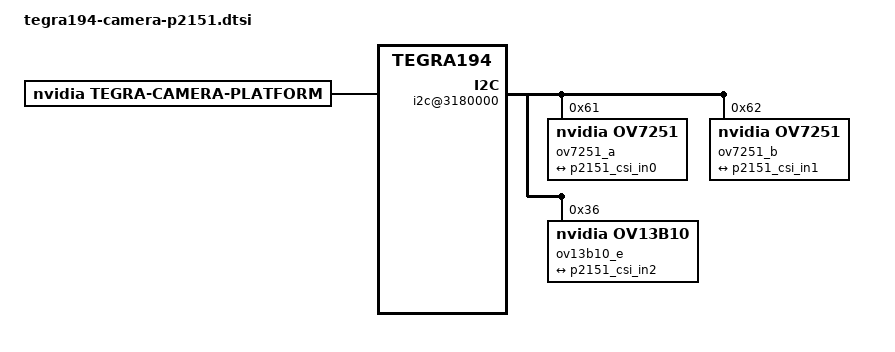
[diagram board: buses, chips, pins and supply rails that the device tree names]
/*
 * Copyright (c) 2015-2020, NVIDIA CORPORATION.  All rights reserved.
 *
 * This program is free software; you can redistribute it and/or modify it
 * under the terms and conditions of the GNU General Public License,
 * version 2, as published by the Free Software Foundation.
 *
 * This program is distributed in the hope it will be useful, but WITHOUT
 * ANY WARRANTY; without even the implied warranty of MERCHANTABILITY or
 * FITNESS FOR A PARTICULAR PURPOSE.  See the GNU General Public License for
 * more details.
 *
 * You should have received a copy of the GNU General Public License
 * along with this program.  If not, see <http://www.gnu.org/licenses/>.
 */

/ {
	tegra-capture-vi {
		num-channels = <3>;
		ports {
			#address-cells = <1>;
			#size-cells = <0>;
			port@0 {
				reg = <0>;
				p2151_vi_in0: endpoint {
					port-index = <0>;
					bus-width = <1>;
					remote-endpoint = <&p2151_csi_out0>;
				};
			};
			port@1 {
				reg = <1>;
				p2151_vi_in1: endpoint {
					port-index = <1>;
					bus-width = <1>;
					remote-endpoint = <&p2151_csi_out1>;
				};
			};
			port@2 {
				reg = <2>;
				p2151_vi_in2: endpoint {
					port-index = <4>;
					bus-width = <4>;
					remote-endpoint = <&p2151_csi_out2>;
				};
			};
		};
	};

	host1x@13e00000 {
		nvcsi@15a00000 {
			num-channels = <3>;
			#address-cells = <1>;
			#size-cells = <0>;
			channel@0 {
				reg = <0>;
				ports {
					#address-cells = <1>;
					#size-cells = <0>;
					port@0 {
						reg = <0>;
						p2151_csi_in0: endpoint@0 {
							port-index = <0>;
							bus-width = <1>;
							remote-endpoint = <&p2151_ov7251_out0>;
						};
					};
					port@1 {
						reg = <1>;
						p2151_csi_out0: endpoint@1 {
							remote-endpoint = <&p2151_vi_in0>;
						};
					};
				};
			};
			channel@1 {
				reg = <1>;
				ports {
					#address-cells = <1>;
					#size-cells = <0>;
					port@0 {
						reg = <0>;
						p2151_csi_in1: endpoint@2 {
							port-index = <1>;
							bus-width = <1>;
							remote-endpoint = <&p2151_ov7251_out1>;
						};
					};
					port@1 {
						reg = <1>;
						p2151_csi_out1: endpoint@3 {
							remote-endpoint = <&p2151_vi_in1>;
						};
					};
				};
			};
			channel@2 {
				reg = <2>;
				ports {
					#address-cells = <1>;
					#size-cells = <0>;
					port@0 {
						reg = <0>;
						p2151_csi_in2: endpoint@4 {
							port-index = <4>;
							bus-width = <4>;
							remote-endpoint = <&p2151_ov13b10_out2>;
						};
					};
					port@1 {
						reg = <1>;
						p2151_csi_out2: endpoint@5 {
							remote-endpoint = <&p2151_vi_in2>;
						};
					};
				};
			};
		};
	};

	i2c@3180000 {
		ov7251_a@61 {
			compatible = "nvidia,ov7251";
			/* I2C device address */
			reg = <0x61>;

			/* Physical dimensions of sensor */
			physical_w = "1.968";
			physical_h = "1.488";

			/* Define any required hw resources needed by driver */
			/* ie. clocks, io pins, power sources */
			avdd-reg = "vana";
			iovdd-reg = "vif";

			sensor_model = "ov7251";
			use_sensor_mode_id = "true";

			/* Sensor output flip settings */
			vertical-flip = "true";
			horizontal-mirror = "true";

			/**
			* A modeX node is required to support v4l2 driver
			* implementation with NVIDIA camera software stack
			*
			* mclk_khz = "";
			* Standard MIPI driving clock, typically 24MHz
			*
			* num_lanes = "";
			* Number of lane channels sensor is programmed to output
			*
			* tegra_sinterface = "";
			* The base tegra serial interface lanes are connected to
			* Incase of virtual HW devices, use virtual
			* For SW emulated devices, use host
			*
			* phy_mode = "";
			* PHY mode used by the MIPI lanes for this device
			*
			* discontinuous_clk = "";
			* The sensor is programmed to use a discontinuous clock on MIPI lanes
			*
			* dpcm_enable = "true";
			* The sensor is programmed to use a DPCM modes
			*
			* cil_settletime = "";
			* MIPI lane settle time value.
			* A "0" value attempts to autocalibrate based on mclk_multiplier
			*
			*
			*
			*
			* active_w = "";
			* Pixel active region width
			*
			* active_h = "";
			* Pixel active region height
			*
			* pixel_t = "";
			* The sensor readout pixel pattern
			*
			* readout_orientation = "0";
			* Based on camera module orientation.
			* Only change readout_orientation if you specifically
			* Program a different readout order for this mode
			*
			* line_length = "";
			* Pixel line length (width) for sensor mode.
			* This is used to calibrate features in our camera stack.
			*
			* mclk_multiplier = "";
			* Multiplier to MCLK to help time hardware capture sequence
			* TODO: Assign to PLL_Multiplier as well until fixed in core
			*
			* pix_clk_hz = "";
			* Sensor pixel clock used for calculations like exposure and framerate
			*
			*
			*
			*
			* inherent_gain = "";
			* Gain obtained inherently from mode (ie. pixel binning)
			*
			* == Source Control Settings ==
			*
			* Gain factor used to convert fixed point integer to float
			* Gain range [min_gain/gain_factor, max_gain/gain_factor]
			* Gain step [step_gain/gain_factor is the smallest step that can be configured]
			* Default gain [Default gain to be initialized for the control.
			*     use min_gain_val as default for optimal results]
			* Framerate factor used to convert fixed point integer to float
			* Framerate range [min_framerate/framerate_factor, max_framerate/framerate_factor]
			* Framerate step [step_framerate/framerate_factor is the smallest step that can be configured]
			* Default Framerate [Default framerate to be initialized for the control.
			*     use max_framerate to get required performance]
			* Exposure factor used to convert fixed point integer to float
			* For convenience use 1 sec = 1000000us as conversion factor
			* Exposure range [min_exp_time/exposure_factor, max_exp_time/exposure_factor]
			* Exposure step [step_exp_time/exposure_factor is the smallest step that can be configured]
			* Default Exposure Time [Default exposure to be initialized for the control.
			*     Set default exposure based on the default_framerate for optimal exposure settings]
			*
			* gain_factor = ""; (integer factor used for floating to fixed point conversion)
			* min_gain_val = ""; (ceil to integer)
			* max_gain_val = ""; (ceil to integer)
			* step_gain_val = ""; (ceil to integer)
			* default_gain = ""; (ceil to integer)
			* Gain limits for mode
			*
			* exposure_factor = ""; (integer factor used for floating to fixed point conversion)
			* min_exp_time = ""; (ceil to integer)
			* max_exp_time = ""; (ceil to integer)
			* step_exp_time = ""; (ceil to integer)
			* default_exp_time = ""; (ceil to integer)
			* Exposure Time limits for mode (us)
			*
			*
			* min_hdr_ratio = "";
			* max_hdr_ratio = "";
			* HDR Ratio limits for mode
			*
			* framerate_factor = ""; (integer factor used for floating to fixed point conversion)
			* min_framerate = "";
			* max_framerate = "";
			* step_framerate = ""; (ceil to integer)
			* default_framerate = ""; (ceil to integer)
			* Framerate limits for mode (fps)
			*/
			mode0 { // OV7251_MODE_640X480
				mclk_khz = "24000";
				num_lanes = "1";
				tegra_sinterface = "serial_a";
				phy_mode = "DPHY";
				discontinuous_clk = "yes";
				dpcm_enable = "false";
				cil_settletime = "0";

				active_w = "640";
				active_h = "480";
				mode_type = "bayer";
				pixel_phase = "bggr";
				csi_pixel_bit_depth = "10";
				readout_orientation = "0";
				line_length = "928";
				inherent_gain = "1";
				mclk_multiplier = "3.33";
				pix_clk_hz = "80000000";

				gain_factor = "16";
				min_gain_val = "16"; /* 1.00x */
				max_gain_val = "248"; /* 15.5x */
				step_gain_val = "1";
				default_gain = "16"; /* 1.00x */
				min_hdr_ratio = "1";
				max_hdr_ratio = "1";
				framerate_factor = "1000000";
				min_framerate = "30000000"; /* 30.0 fps */
				max_framerate = "30000000"; /* 30.0 fps */
				step_framerate = "1";
				default_framerate = "30000000"; /* 30.0 fps */
				exposure_factor = "1000000";
				min_exp_time = "19"; /* us */
				max_exp_time = "32943"; /* us */
				step_exp_time = "1";
				default_exp_time = "32943";/* us */
				embedded_metadata_height = "0";
			};

			ports {
				#address-cells = <1>;
				#size-cells = <0>;

				port@0 {
					reg = <0>;
					p2151_ov7251_out0: endpoint {
						port-index = <0>;
						bus-width = <1>;
						remote-endpoint = <&p2151_csi_in0>;
					};
				};
			};
		};
		ov7251_b@62 {
			compatible = "nvidia,ov7251";
			/* I2C device address */
			reg = <0x62>;

			/* Physical dimensions of sensor */
			physical_w = "1.968";
			physical_h = "1.488";

			/* Define any required hw resources needed by driver */
			/* ie. clocks, io pins, power sources */
			avdd-reg = "vana";
			iovdd-reg = "vif";

			sensor_model = "ov7251";
			use_sensor_mode_id = "true";

			/* Sensor output flip settings */
			vertical-flip = "true";
			horizontal-mirror = "true";

			/**
			* A modeX node is required to support v4l2 driver
			* implementation with NVIDIA camera software stack
			*
			* mclk_khz = "";
			* Standard MIPI driving clock, typically 24MHz
			*
			* num_lanes = "";
			* Number of lane channels sensor is programmed to output
			*
			* tegra_sinterface = "";
			* The base tegra serial interface lanes are connected to
			* Incase of virtual HW devices, use virtual
			* For SW emulated devices, use host
			*
			* phy_mode = "";
			* PHY mode used by the MIPI lanes for this device
			*
			* discontinuous_clk = "";
			* The sensor is programmed to use a discontinuous clock on MIPI lanes
			*
			* dpcm_enable = "true";
			* The sensor is programmed to use a DPCM modes
			*
			* cil_settletime = "";
			* MIPI lane settle time value.
			* A "0" value attempts to autocalibrate based on mclk_multiplier
			*
			*
			*
			*
			* active_w = "";
			* Pixel active region width
			*
			* active_h = "";
			* Pixel active region height
			*
			* pixel_t = "";
			* The sensor readout pixel pattern
			*
			* readout_orientation = "0";
			* Based on camera module orientation.
			* Only change readout_orientation if you specifically
			* Program a different readout order for this mode
			*
			* line_length = "";
			* Pixel line length (width) for sensor mode.
			* This is used to calibrate features in our camera stack.
			*
			* mclk_multiplier = "";
			* Multiplier to MCLK to help time hardware capture sequence
			* TODO: Assign to PLL_Multiplier as well until fixed in core
			*
			* pix_clk_hz = "";
			* Sensor pixel clock used for calculations like exposure and framerate
			*
			*
			*
			*
			* inherent_gain = "";
			* Gain obtained inherently from mode (ie. pixel binning)
			*
			* == Source Control Settings ==
			*
			* Gain factor used to convert fixed point integer to float
			* Gain range [min_gain/gain_factor, max_gain/gain_factor]
			* Gain step [step_gain/gain_factor is the smallest step that can be configured]
			* Default gain [Default gain to be initialized for the control.
			*     use min_gain_val as default for optimal results]
			* Framerate factor used to convert fixed point integer to float
			* Framerate range [min_framerate/framerate_factor, max_framerate/framerate_factor]
			* Framerate step [step_framerate/framerate_factor is the smallest step that can be configured]
			* Default Framerate [Default framerate to be initialized for the control.
			*     use max_framerate to get required performance]
			* Exposure factor used to convert fixed point integer to float
			* For convenience use 1 sec = 1000000us as conversion factor
			* Exposure range [min_exp_time/exposure_factor, max_exp_time/exposure_factor]
			* Exposure step [step_exp_time/exposure_factor is the smallest step that can be configured]
			* Default Exposure Time [Default exposure to be initialized for the control.
			*     Set default exposure based on the default_framerate for optimal exposure settings]
			*
			* gain_factor = ""; (integer factor used for floating to fixed point conversion)
			* min_gain_val = ""; (ceil to integer)
			* max_gain_val = ""; (ceil to integer)
			* step_gain_val = ""; (ceil to integer)
			* default_gain = ""; (ceil to integer)
			* Gain limits for mode
			*
			* exposure_factor = ""; (integer factor used for floating to fixed point conversion)
			* min_exp_time = ""; (ceil to integer)
			* max_exp_time = ""; (ceil to integer)
			* step_exp_time = ""; (ceil to integer)
			* default_exp_time = ""; (ceil to integer)
			* Exposure Time limits for mode (us)
			*
			*
			* min_hdr_ratio = "";
			* max_hdr_ratio = "";
			* HDR Ratio limits for mode
			*
			* framerate_factor = ""; (integer factor used for floating to fixed point conversion)
			* min_framerate = "";
			* max_framerate = "";
			* step_framerate = ""; (ceil to integer)
			* default_framerate = ""; (ceil to integer)
			* Framerate limits for mode (fps)
			*/
			mode0 { // OV7251_MODE_640X480
				mclk_khz = "24000";
				num_lanes = "1";
				tegra_sinterface = "serial_b";
				phy_mode = "DPHY";
				discontinuous_clk = "yes";
				dpcm_enable = "false";
				cil_settletime = "0";

				active_w = "640";
				active_h = "480";
				mode_type = "bayer";
				pixel_phase = "bggr";
				csi_pixel_bit_depth = "10";
				readout_orientation = "0";
				line_length = "928";
				inherent_gain = "1";
				mclk_multiplier = "3.33";
				pix_clk_hz = "80000000";

				gain_factor = "16";
				min_gain_val = "16"; /* 1.00x */
				max_gain_val = "248"; /* 15.5x */
				step_gain_val = "1";
				default_gain = "16"; /* 1.00x */
				min_hdr_ratio = "1";
				max_hdr_ratio = "1";
				framerate_factor = "1000000";
				min_framerate = "30000000"; /* 30.0 fps */
				max_framerate = "30000000"; /* 30.0 fps */
				step_framerate = "1";
				default_framerate = "30000000"; /* 30.0 fps */
				exposure_factor = "1000000";
				min_exp_time = "19"; /* us */
				max_exp_time = "32943"; /* us */
				step_exp_time = "1";
				default_exp_time = "32943";/* us */
				embedded_metadata_height = "0";
			};

			ports {
				#address-cells = <1>;
				#size-cells = <0>;

				port@0 {
					reg = <0>;
					p2151_ov7251_out1: endpoint {
						port-index = <1>;
						bus-width = <1>;
						remote-endpoint = <&p2151_csi_in1>;
					};
				};
			};
		};

		ov13b10_e@36 {
			compatible = "nvidia,ov13b10";
			/* I2C device address */
			reg = <0x36>;

			/* Physical dimensions of sensor */
			physical_w = "4.713984";
			physical_h = "3.499776";

			/* Define any required hw resources needed by driver */
			/* ie. clocks, io pins, power sources */
			avdd-reg = "vana";
			iovdd-reg = "vif";

			sensor_model = "ov13b10";
			use_sensor_mode_id = "true";

			/* Sensor output flip settings */
			vertical-flip = "true";
			horizontal-mirror = "true";

			/**
			* A modeX node is required to support v4l2 driver
			* implementation with NVIDIA camera software stack
			*
			* mclk_khz = "";
			* Standard MIPI driving clock, typically 24MHz
			*
			* num_lanes = "";
			* Number of lane channels sensor is programmed to output
			*
			* tegra_sinterface = "";
			* The base tegra serial interface lanes are connected to
			* Incase of virtual HW devices, use virtual
			* For SW emulated devices, use host
			*
			* phy_mode = "";
			* PHY mode used by the MIPI lanes for this device
			*
			* discontinuous_clk = "";
			* The sensor is programmed to use a discontinuous clock on MIPI lanes
			*
			* dpcm_enable = "true";
			* The sensor is programmed to use a DPCM modes
			*
			* cil_settletime = "";
			* MIPI lane settle time value.
			* A "0" value attempts to autocalibrate based on mclk_multiplier
			*
			*
			*
			*
			* active_w = "";
			* Pixel active region width
			*
			* active_h = "";
			* Pixel active region height
			*
			* pixel_t = "";
			* The sensor readout pixel pattern
			*
			* readout_orientation = "0";
			* Based on camera module orientation.
			* Only change readout_orientation if you specifically
			* Program a different readout order for this mode
			*
			* line_length = "";
			* Pixel line length (width) for sensor mode.
			* This is used to calibrate features in our camera stack.
			*
			* mclk_multiplier = "";
			* Multiplier to MCLK to help time hardware capture sequence
			* TODO: Assign to PLL_Multiplier as well until fixed in core
			*
			* pix_clk_hz = "";
			* Sensor pixel clock used for calculations like exposure and framerate
			*
			*
			*
			*
			* inherent_gain = "";
			* Gain obtained inherently from mode (ie. pixel binning)
			*
			* == Source Control Settings ==
			*
			* Gain factor used to convert fixed point integer to float
			* Gain range [min_gain/gain_factor, max_gain/gain_factor]
			* Gain step [step_gain/gain_factor is the smallest step that can be configured]
			* Default gain [Default gain to be initialized for the control.
			*     use min_gain_val as default for optimal results]
			* Framerate factor used to convert fixed point integer to float
			* Framerate range [min_framerate/framerate_factor, max_framerate/framerate_factor]
			* Framerate step [step_framerate/framerate_factor is the smallest step that can be configured]
			* Default Framerate [Default framerate to be initialized for the control.
			*     use max_framerate to get required performance]
			* Exposure factor used to convert fixed point integer to float
			* For convenience use 1 sec = 1000000us as conversion factor
			* Exposure range [min_exp_time/exposure_factor, max_exp_time/exposure_factor]
			* Exposure step [step_exp_time/exposure_factor is the smallest step that can be configured]
			* Default Exposure Time [Default exposure to be initialized for the control.
			*     Set default exposure based on the default_framerate for optimal exposure settings]
			*
			* gain_factor = ""; (integer factor used for floating to fixed point conversion)
			* min_gain_val = ""; (ceil to integer)
			* max_gain_val = ""; (ceil to integer)
			* step_gain_val = ""; (ceil to integer)
			* default_gain = ""; (ceil to integer)
			* Gain limits for mode
			*
			* exposure_factor = ""; (integer factor used for floating to fixed point conversion)
			* min_exp_time = ""; (ceil to integer)
			* max_exp_time = ""; (ceil to integer)
			* step_exp_time = ""; (ceil to integer)
			* default_exp_time = ""; (ceil to integer)
			* Exposure Time limits for mode (us)
			*
			*
			* min_hdr_ratio = "";
			* max_hdr_ratio = "";
			* HDR Ratio limits for mode
			*
			* framerate_factor = ""; (integer factor used for floating to fixed point conversion)
			* min_framerate = "";
			* max_framerate = "";
			* step_framerate = ""; (ceil to integer)
			* default_framerate = ""; (ceil to integer)
			* Framerate limits for mode (fps)
			*/
			mode0 { // OV13B10_MODE_4208X3120
				mclk_khz = "19200";
				num_lanes = "4";
				tegra_sinterface = "serial_e";
				phy_mode = "DPHY";
				discontinuous_clk = "yes";
				dpcm_enable = "false";
				cil_settletime = "0";

				active_w = "4208";
				active_h = "3120";
				mode_type = "bayer";
				pixel_phase = "rggb";
				csi_pixel_bit_depth = "10";
				readout_orientation = "0";
				line_length = "4704";
				inherent_gain = "1";
				mclk_multiplier = "23.33";
				pix_clk_hz = "448000000";

				gain_factor = "16";
				min_gain_val = "16"; /* 1.00x */
				max_gain_val = "240"; /* 15.5x */
				step_gain_val = "1";
				default_gain = "16"; /* 1.00x */
				min_hdr_ratio = "1";
				max_hdr_ratio = "1";
				framerate_factor = "1000000";
				min_framerate = "2000000"; /* 2.0 fps */
				max_framerate = "30000000"; /* 30.0 fps */
				step_framerate = "1";
				default_framerate = "30000000"; /* 30.0 fps */
				exposure_factor = "1000000";
				min_exp_time = "42"; /* us */
				max_exp_time = "341676"; /* us */
				step_exp_time = "1";
				default_exp_time = "33251";/* us */
				embedded_metadata_height = "0";
			};

			ports {
				#address-cells = <1>;
				#size-cells = <0>;

				port@0 {
					reg = <0>;
					p2151_ov13b10_out2: endpoint {
						port-index = <4>;
						bus-width = <4>;
						remote-endpoint = <&p2151_csi_in2>;
					};
				};
			};
		};
	};

	p2151_lens_ov7251@0 {
		min_focus_distance = "0.041";
		hyper_focal = "0.0";
		focal_length = "0.83";
		f_number = "2.0";
		aperture = "0.0";
	};

	p2151_lens_ov13b10@1 {
		min_focus_distance = "0.43";
		hyper_focal = "0.0";
		focal_length = "2.13";
		f_number = "2.4";
		aperture = "0.0";
	};

	tegra-camera-platform {
		compatible = "nvidia, tegra-camera-platform";
		/**
		* Physical settings to calculate max ISO BW
		*
		* num_csi_lanes = <>;
		* Total number of CSI lanes when all cameras are active
		*
		* max_lane_speed = <>;
		* Max lane speed in Kbit/s
		*
		* min_bits_per_pixel = <>;
		* Min bits per pixel
		*
		* vi_peak_byte_per_pixel = <>;
		* Max byte per pixel for the VI ISO case
		*
		* vi_bw_margin_pct = <>;
		* Vi bandwidth margin in percentage
		*
		* max_pixel_rate = <>;
		* Max pixel rate in Kpixel/s for the ISP ISO case
		*
		* isp_peak_byte_per_pixel = <>;
		* Max byte per pixel for the ISP ISO case
		*
		* isp_bw_margin_pct = <>;
		* Isp bandwidth margin in percentage
		*/
		num_csi_lanes = <6>;
		max_lane_speed = <1500000>;
		min_bits_per_pixel = <10>;
		vi_peak_byte_per_pixel = <2>;
		vi_bw_margin_pct = <25>;
		max_pixel_rate = <750000>;
		isp_peak_byte_per_pixel = <5>;
		isp_bw_margin_pct = <25>;

		/**
		* The general guideline for naming badge_info contains 3 parts, and is as follows,
		* The first part is the camera_board_id for the module; if the module is in a FFD
		* platform, then use the platform name for this part.
		* The second part contains the position of the module, ex. “rear” or “front”.
		* The third part contains the last 6 characters of a part number which is found
		* in the module's specsheet from the vender.
		*/
		modules {
			module0 {
				badge = "ov7251_0_P2151X";
				position = "0";
				orientation = "1";
				drivernode0 {
					/* Declare PCL support driver (classically known as guid)  */
					pcl_id = "v4l2_sensor";
					/* Driver v4l2 device name */
					devname = "ov7251 2-0061";
					/* Declare the device-tree hierarchy to driver instance */
					proc-device-tree = "/proc/device-tree/i2c@3180000/ov7251_a@61";
				};
				drivernode1 {
					/* Declare PCL support driver (classically known as guid)  */
					pcl_id = "v4l2_lens";
					proc-device-tree = "/proc/device-tree/p2151_lens_ov7251@0/";
				};
			};
			module1 {
				badge = "ov7251_1_P2151X";
				position = "1";
				orientation = "1";
				drivernode0 {
					/* Declare PCL support driver (classically known as guid)  */
					pcl_id = "v4l2_sensor";
					/* Driver v4l2 device name */
					devname = "ov7251 2-0062";
					/* Declare the device-tree hierarchy to driver instance */
					proc-device-tree = "/proc/device-tree/i2c@3180000/ov7251_b@62";
				};
				drivernode1 {
					/* Declare PCL support driver (classically known as guid)  */
					pcl_id = "v4l2_lens";
					proc-device-tree = "/proc/device-tree/p2151_lens_ov7251@0/";
				};
			};
			module2 {
				badge = "ov13b10_2_P2151X";
				position = "2";
				orientation = "1";
				drivernode0 {
					/* Declare PCL support driver (classically known as guid)  */
					pcl_id = "v4l2_sensor";
					/* Driver v4l2 device name */
					devname = "ov13b10 2-0036";
					/* Declare the device-tree hierarchy to driver instance */
					proc-device-tree = "/proc/device-tree/i2c@3180000/ov13b10_e@36";
				};
				drivernode1 {
					/* Declare PCL support driver (classically known as guid)  */
					pcl_id = "v4l2_lens";
					proc-device-tree = "/proc/device-tree/p2151_lens_ov13b10@1/";
				};
			};
		};
	};
};
